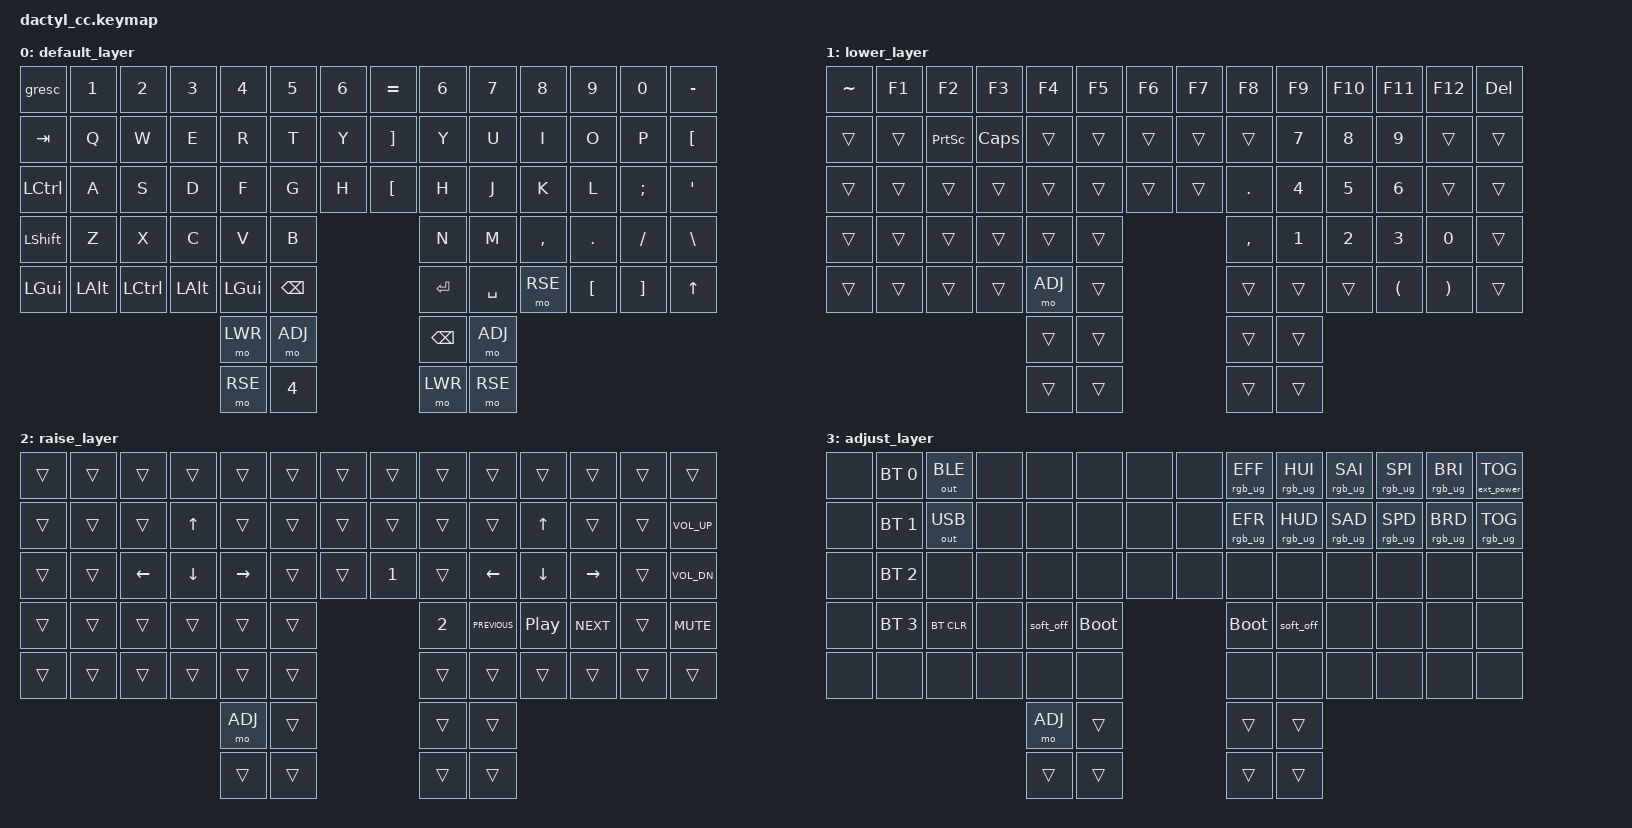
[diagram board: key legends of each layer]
#include <behaviors.dtsi>
#include <dt-bindings/zmk/keys.h>
#include <dt-bindings/zmk/bt.h>
#include <dt-bindings/zmk/rgb.h>
#include <dt-bindings/zmk/ext_power.h>
#include <dt-bindings/zmk/outputs.h>

#define DEFAULT 0
#define LWR 1
#define RSE 2
#define ADJ 3

/ {
    behaviors {
        pht: positional_hold_tap {
            compatible = "zmk,behavior-hold-tap";
            label = "POSITIONAL_HOLD_TAP";
            #binding-cells = <2>;
            flavor = "hold-preferred";
            tapping-term-ms = <200>;
            quick-tap-ms = <200>;
            bindings = <&kp>, <&kp>;
        };
        gresc: grave_escape {
            compatible = "zmk,behavior-mod-morph";
            #binding-cells = <0>;
            bindings = <&kp ESC>, <&kp GRAVE>;
            mods = <(MOD_LGUI|MOD_RGUI|MOD_RSFT)>;
        };
    };
    keymap {
        compatible = "zmk,keymap";

        default_layer {
            bindings = <
                &gresc     &kp N1    &kp N2     &kp N3    &kp N4    &kp N5     &kp N6         &kp EQUAL &kp N6    &kp N7     &kp N8     &kp N9    &kp N0          &kp MINUS
                &kp TAB    &kp Q     &kp W      &kp E     &kp R     &kp T      &kp Y          &kp RBKT  &kp Y     &kp U      &kp I      &kp O     &kp P           &kp LBKT
                &kp LCTRL  &kp A     &kp S      &kp D     &kp F     &kp G      &kp H          &kp LBKT  &kp H     &kp J      &kp K      &kp L     &kp SEMICOLON   &kp SQT
                &kp LSHFT  &kp Z     &kp X      &kp C     &kp V     &kp B                               &kp N     &kp M      &kp COMMA  &kp DOT   &kp SLASH       &kp BACKSLASH
                &kp LGUI   &kp LALT  &kp LCTRL  &kp LALT  &kp LGUI  &kp BSPC                            &kp RET   &kp SPACE  &mo RSE    &kp LBKT  &kp RBKT        &kp UP
                                                          &mo LWR   &mo ADJ                             &kp BSPC  &mo ADJ
                                                          &mo RSE   &kp N4                              &mo LWR   &mo RSE
            >;
        };

        lower_layer {
            bindings = <
                &kp TILDE &kp F1   &kp F2      &kp F3     &kp F4    &kp F5   &kp F6          &kp F7   &kp F8     &kp F9   &kp F10   &kp F11   &kp F12   &kp DEL
                &trans    &trans   &kp PSCRN   &kp CAPS   &trans    &trans   &trans          &trans   &trans     &kp N7   &kp N8    &kp N9    &trans    &trans
                &trans    &trans   &trans      &trans     &trans    &trans   &trans          &trans   &kp DOT    &kp N4   &kp N5    &kp N6    &trans    &trans
                &trans    &trans   &trans      &trans     &trans    &trans                            &kp COMMA  &kp N1   &kp N2    &kp N3    &kp N0    &trans
                &trans    &trans   &trans      &trans     &mo ADJ   &trans                            &trans     &trans   &trans    &kp LPAR  &kp RPAR  &trans
                                                          &trans    &trans                            &trans     &trans
                                                          &trans    &trans                            &trans     &trans
            >;
        };

        raise_layer {
            bindings = <
                &trans   &trans    &trans     &trans      &trans    &trans   &trans         &trans    &trans    &trans           &trans            &trans       &trans  &trans
                &trans   &trans    &trans     &kp UP      &trans    &trans   &trans         &trans    &trans    &trans           &kp UP            &trans       &trans  &kp K_VOL_UP
                &trans   &trans    &kp LEFT   &kp DOWN    &kp RIGHT &trans   &trans         &kp N1    &trans    &kp LEFT         &kp DOWN          &kp RIGHT    &trans  &kp K_VOL_DN
                &trans   &trans    &trans     &trans      &trans    &trans                            &kp N2    &kp C_PREVIOUS   &kp C_PLAY_PAUSE  &kp C_NEXT   &trans  &kp K_MUTE
                &trans   &trans    &trans     &trans      &trans    &trans                            &trans    &trans           &trans            &trans       &trans  &trans
                                                          &mo ADJ   &trans                            &trans    &trans
                                                          &trans    &trans                            &trans    &trans
            >;
        };

        adjust_layer {
            bindings = <
                &none &bt BT_SEL 0 &out OUT_BLE &none &none       &none        &none         &none     &rgb_ug RGB_EFF   &rgb_ug RGB_HUI   &rgb_ug RGB_SAI   &rgb_ug RGB_SPI   &rgb_ug RGB_BRI   &ext_power EP_TOG
                &none &bt BT_SEL 1 &out OUT_USB &none &none       &none        &none         &none     &rgb_ug RGB_EFR   &rgb_ug RGB_HUD   &rgb_ug RGB_SAD   &rgb_ug RGB_SPD   &rgb_ug RGB_BRD   &rgb_ug RGB_TOG
                &none &bt BT_SEL 2 &none        &none &none       &none        &none         &none     &none             &none             &none             &none             &none             &none
                &none &bt BT_SEL 3 &bt BT_CLR   &none &soft_off   &bootloader                          &bootloader       &soft_off         &none             &none             &none             &none
                &none &none        &none        &none &none       &none                                &none             &none             &none             &none             &none             &none
                                                      &mo ADJ     &trans                               &trans            &trans
                                                      &trans      &trans                               &trans            &trans

            >;
        };
    };
};
